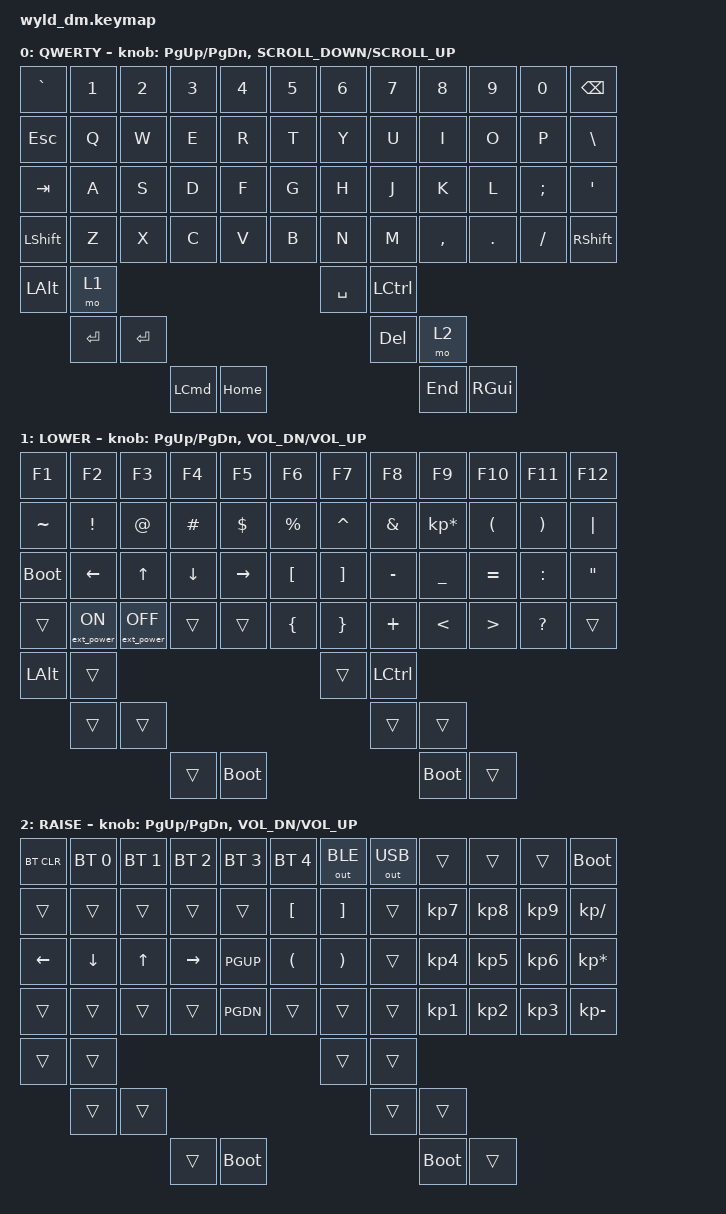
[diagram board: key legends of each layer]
/*
 * Copyright (c) 2020 The ZMK Contributors
 *
 * SPDX-License-Identifier: MIT
 */
//#include <behaviors/mouse_keys.dtsi>

#include <behaviors.dtsi>
#include <dt-bindings/zmk/bt.h>
#include <dt-bindings/zmk/ext_power.h>
#include <dt-bindings/zmk/keys.h>
#include <dt-bindings/zmk/outputs.h>

#define QWERTY 0
#define LOWER 1
#define RAISE 2
#define MOUSE 3

// 4x6

/ {
    keymap {
        compatible = "zmk,keymap";

        default_layer {
            display-name = "QWERTY";
            bindings = <
&kp GRAVE     &kp N1     &kp N2     &kp N3            &kp N4    &kp N5      &kp N6     &kp N7     &kp N8     &kp N9         &kp N0    &kp BACKSPACE
&kp ESCAPE    &kp Q      &kp W      &kp E             &kp R     &kp T       &kp Y      &kp U      &kp I      &kp O          &kp P     &kp BACKSLASH
&kp TAB       &kp A      &kp S      &kp D             &kp F     &kp G       &kp H      &kp J      &kp K      &kp L          &kp SEMI  &kp SQT
&kp LSHFT     &kp Z      &kp X      &kp C             &kp V     &kp B       &kp N      &kp M      &kp COMMA  &kp DOT        &kp FSLH  &kp RSHFT
&kp LEFT_ALT  &mo 1                                                         &kp SPACE  &kp LCTRL
              &kp ENTER  &kp ENTER                                                     &kp DEL    &mo 2
                                    &kp LEFT_COMMAND  &kp HOME                                    &kp END    &kp RIGHT_GUI
            >;

            sensor-bindings =
                <&inc_dec_kp PG_UP PG_DN>,
                <&inc_dec_kp K_SCROLL_DOWN K_SCROLL_UP>;
        };

        lower_layer {
            display-name = "LOWER";
            bindings = <
&kp F1        &kp F2            &kp F3             &kp F4    &kp F5       &kp F6                &kp F7             &kp F8     &kp F9           &kp F10           &kp F11       &kp F12
&kp TILDE     &kp EXCL          &kp AT             &kp HASH  &kp DOLLAR   &kp PRCNT             &kp CARET          &kp AMPS   &kp KP_MULTIPLY  &kp LPAR          &kp RPAR      &kp PIPE
&bootloader   &kp LEFT          &kp UP_ARROW       &kp DOWN  &kp RIGHT    &kp LEFT_BRACKET      &kp RIGHT_BRACKET  &kp MINUS  &kp UNDERSCORE   &kp EQUAL         &kp COLON     &kp DOUBLE_QUOTES
&trans        &ext_power EP_ON  &ext_power EP_OFF  &trans    &trans       &kp LEFT_BRACE        &kp RIGHT_BRACE    &kp PLUS   &kp LESS_THAN    &kp GREATER_THAN  &kp QUESTION  &trans
&kp LEFT_ALT  &trans                                                                            &trans             &kp LCTRL
              &trans            &trans                                                                             &trans     &trans
                                                   &trans    &bootloader                                                      &bootloader      &trans
            >;

            sensor-bindings =
                <&inc_dec_kp PG_UP PG_DN>,
                <&inc_dec_kp C_VOL_DN C_VOL_UP>;
        };

        raise_layer {
            display-name = "RAISE";
            bindings = <
&bt BT_CLR  &bt BT_SEL 0  &bt BT_SEL 1  &bt BT_SEL 2  &bt BT_SEL 3  &bt BT_SEL 4      &out OUT_BLE  &out OUT_USB  &trans       &trans     &trans     &bootloader
&trans      &trans        &trans        &trans        &trans        &kp LBKT          &kp RBKT      &trans        &kp KP_N7    &kp KP_N8  &kp KP_N9  &kp KP_DIVIDE
&kp LEFT    &kp DOWN      &kp UP        &kp RIGHT     &kp PGUP      &kp LPAR          &kp RPAR      &trans        &kp KP_N4    &kp KP_N5  &kp KP_N6  &kp KP_MULTIPLY
&trans      &trans        &trans        &trans        &kp PGDN      &trans            &trans        &trans        &kp KP_N1    &kp KP_N2  &kp KP_N3  &kp KP_MINUS
&trans      &trans                                                                    &trans        &trans
            &trans        &trans                                                                    &trans        &trans
                                        &trans        &bootloader                                                 &bootloader  &trans
            >;

            sensor-bindings =
                <&inc_dec_kp PG_UP PG_DN>,
                <&inc_dec_kp C_VOL_DN C_VOL_UP>;
        };

        //        mouse_layer {
        //			display-name = "MOUSE";
        //
        //			bindings = <
        //                    &trans  &trans  &trans  &trans     &trans     &trans                         &trans  &trans     &trans     &trans  &trans  &trans
        //                    &trans  &trans  &trans  &trans     &trans     &trans                         &trans  &trans     &trans     &trans  &trans  &trans
        //                    &trans  &trans  &trans  &mkp LCLK  &mkp RCLK  &trans                         &trans  &mkp LCLK  &mkp RCLK  &trans  &trans  &trans
        //                    &trans  &trans  &trans  &trans     &trans     &trans                         &trans  &trans     &trans     &trans  &trans  &trans
        //                    &trans  &trans  &trans  &trans     &trans     &trans                         &trans  &trans     &trans     &trans  &trans  &trans
        //			                                               &trans                           &trans      &trans
        //			                                                 &trans                       &mkp LCLK   &mkp RCLK
        //			                                                   &trans                   &kp K_MUTE  &trans
        //			>;
        //
        //            sensor-bindings = <&inc_dec_kp C_VOL_DN C_VOL_UP>;
        //        };
    };
};
